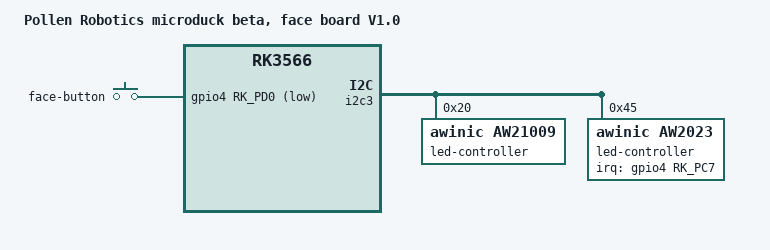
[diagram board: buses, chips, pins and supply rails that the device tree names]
// SPDX-License-Identifier: (GPL-2.0+ OR MIT)
/*
 * microduck beta main board with the Face Board V1.0.
 *
 * The main board is the beta's, so this is rk3566-microduck-beta.dts with its
 * face block swapped. V1.0 replaces the PCA9535 expander and its NPN switches
 * with two constant-current drivers on the same I2C3: an AW21009 (9 channels,
 * 0x20) for the indicator LEDs and an AW2023 (3 channels, 0x45) for the RGB
 * LED, whose INTN takes the expander's GPIO4_C7. The freed GPIO4_D0 carries a
 * new button. Everything else on the face board connector (PDM mic, ToF on
 * SPI3, IMU on I2C3) is wired as on the beta.
 *
 * Which channel lights which LED is not described here yet: the labels are the
 * driver channels (face:ledN = the AW21009's LEDn pin, face:rgb:N = the
 * AW2023's LEDN), to be renamed once checked on a board. They keep the face:
 * prefix so 70-microduck-face-leds.rules hands them to the robot group.
 */

#include "rk3566-microduck-beta.dts"

/ {
	model = "Pollen Robotics microduck beta, face board V1.0";
	compatible = "pollen,microduck-face-board-v1", "pollen,microduck-beta", "rockchip,rk3566";

	/delete-node/ face-leds;

	face-keys {
		compatible = "gpio-keys";
		pinctrl-names = "default";
		pinctrl-0 = <&face_button>;

		/* Pulled up and debounced (RC) on the face board; pressed is low. */
		face-button {
			label = "face-button";
			linux,code = <KEY_ENTER>;
			gpios = <&gpio4 RK_PD0 GPIO_ACTIVE_LOW>;
		};
	};
};

/delete-node/ &face_gpio;

&i2c3 {
	/* EN is pulled up on the face board; ISET sets the full-scale current. */
	led-controller@20 {
		compatible = "awinic,aw21009";
		reg = <0x20>;
		#address-cells = <1>;
		#size-cells = <0>;

		led@1 { reg = <1>; label = "face:led1"; };
		led@2 { reg = <2>; label = "face:led2"; };
		led@3 { reg = <3>; label = "face:led3"; };
		led@4 { reg = <4>; label = "face:led4"; };
		led@5 { reg = <5>; label = "face:led5"; };
		led@6 { reg = <6>; label = "face:led6"; };
		led@7 { reg = <7>; label = "face:led7"; };
		led@8 { reg = <8>; label = "face:led8"; };
		led@9 { reg = <9>; label = "face:led9"; };
	};

	led-controller@45 {
		compatible = "awinic,aw2023";
		reg = <0x45>;
		awinic,imax = <1>;
		interrupt-parent = <&gpio4>;
		interrupts = <RK_PC7 IRQ_TYPE_LEVEL_LOW>;
		pinctrl-names = "default";
		pinctrl-0 = <&face_gpio_int>;
		#address-cells = <1>;
		#size-cells = <0>;

		led@0 { reg = <0>; label = "face:rgb:0"; };
		led@1 { reg = <1>; label = "face:rgb:1"; };
		led@2 { reg = <2>; label = "face:rgb:2"; };
	};
};

&pinctrl {
	face {
		face_button: face-button {
			rockchip,pins = <4 RK_PD0 RK_FUNC_GPIO &pcfg_pull_none>;
		};
	};
};
